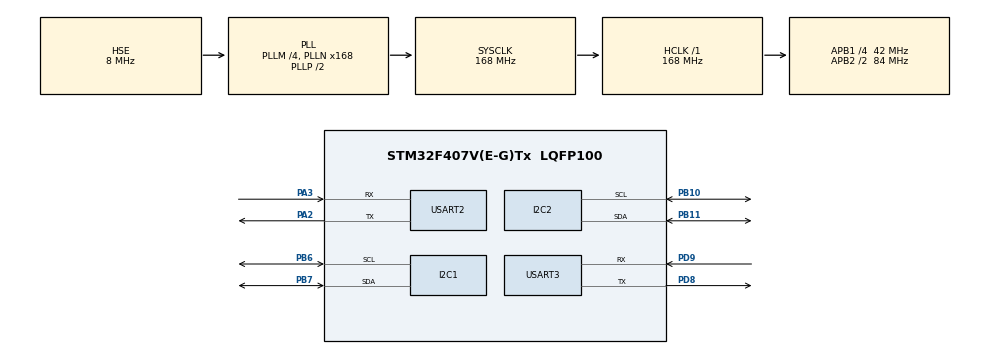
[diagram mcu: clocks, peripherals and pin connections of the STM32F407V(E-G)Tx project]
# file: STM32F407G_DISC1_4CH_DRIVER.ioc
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Dma.Request0=USART2_TX
Dma.Request1=USART3_TX
Dma.Request2=USART3_RX
Dma.USART2_TX.0.Direction=DMA_MEMORY_TO_PERIPH
Dma.USART2_TX.0.FIFOMode=DMA_FIFOMODE_DISABLE
Dma.USART2_TX.0.Instance=DMA1_Stream6
Dma.USART2_TX.0.MemDataAlignment=DMA_MDATAALIGN_BYTE
Dma.USART2_TX.0.MemInc=DMA_MINC_ENABLE
Dma.USART2_TX.0.Mode=DMA_NORMAL
Dma.USART2_TX.0.PeriphDataAlignment=DMA_PDATAALIGN_BYTE
Dma.USART2_TX.0.PeriphInc=DMA_PINC_DISABLE
Dma.USART2_TX.0.Priority=DMA_PRIORITY_LOW
Dma.USART3_RX.2.Direction=DMA_PERIPH_TO_MEMORY
Dma.USART3_RX.2.FIFOMode=DMA_FIFOMODE_DISABLE
Dma.USART3_RX.2.Instance=DMA1_Stream1
Dma.USART3_RX.2.MemDataAlignment=DMA_MDATAALIGN_BYTE
Dma.USART3_RX.2.MemInc=DMA_MINC_ENABLE
Dma.USART3_RX.2.Mode=DMA_NORMAL
Dma.USART3_RX.2.PeriphDataAlignment=DMA_PDATAALIGN_BYTE
Dma.USART3_RX.2.PeriphInc=DMA_PINC_DISABLE
Dma.USART3_RX.2.Priority=DMA_PRIORITY_LOW
Dma.USART3_TX.1.Direction=DMA_MEMORY_TO_PERIPH
Dma.USART3_TX.1.FIFOMode=DMA_FIFOMODE_DISABLE
Dma.USART3_TX.1.Instance=DMA1_Stream3
Dma.USART3_TX.1.MemDataAlignment=DMA_MDATAALIGN_BYTE
Dma.USART3_TX.1.MemInc=DMA_MINC_ENABLE
Dma.USART3_TX.1.Mode=DMA_NORMAL
Dma.USART3_TX.1.PeriphDataAlignment=DMA_PDATAALIGN_BYTE
Dma.USART3_TX.1.PeriphInc=DMA_PINC_DISABLE
Dma.USART3_TX.1.Priority=DMA_PRIORITY_LOW
Mcu.Family=STM32F4
Mcu.Name=STM32F407V(E-G)Tx
Mcu.Package=LQFP100
NVIC.DMA1_Stream1_IRQn=true\:0\:0\:false\:false\:true\:false\:true\:true
NVIC.DMA1_Stream3_IRQn=true\:0\:0\:false\:false\:true\:false\:true\:true
NVIC.DMA1_Stream6_IRQn=true\:0\:0\:false\:false\:true\:false\:true\:true
NVIC.PriorityGroup=NVIC_PRIORITYGROUP_4
NVIC.TIM6_DAC_IRQn=true\:0\:0\:false\:false\:true\:true\:true\:true
NVIC.USART2_IRQn=true\:0\:0\:false\:false\:true\:true\:true\:true
NVIC.USART3_IRQn=true\:0\:0\:false\:false\:true\:true\:true\:true
PA2.Mode=Asynchronous
PA2.Signal=USART2_TX
PA3.Mode=Asynchronous
PA3.Signal=USART2_RX
PB10.GPIO_Pu=GPIO_PULLUP
PB10.Mode=I2C
PB10.Signal=I2C2_SCL
PB11.GPIO_Pu=GPIO_PULLUP
PB11.Mode=I2C
PB11.Signal=I2C2_SDA
PB6.Mode=I2C
PB6.Signal=I2C1_SCL
PB7.Mode=I2C
PB7.Signal=I2C1_SDA
PD8.Mode=Asynchronous
PD8.Signal=USART3_TX
PD9.Mode=Asynchronous
PD9.Signal=USART3_RX
PH0-OSC_IN.Mode=HSE-External-Oscillator
PH0-OSC_IN.Signal=RCC_OSC_IN
PH1-OSC_OUT.Mode=HSE-External-Oscillator
PH1-OSC_OUT.Signal=RCC_OSC_OUT
ProjectManager.HeapSize=0x200
ProjectManager.StackSize=0x400
ProjectManager.TargetToolchain=STM32CubeIDE
RCC.48MHZClocksFreq_Value=84000000
RCC.AHBFreq_Value=168000000
RCC.APB1CLKDivider=RCC_HCLK_DIV4
RCC.APB1Freq_Value=42000000
RCC.APB1TimFreq_Value=84000000
RCC.APB2CLKDivider=RCC_HCLK_DIV2
RCC.APB2Freq_Value=84000000
RCC.APB2TimFreq_Value=168000000
RCC.CortexFreq_Value=168000000
RCC.HCLKFreq_Value=168000000
RCC.HSE_VALUE=8000000
RCC.HSI_VALUE=16000000
RCC.LSE_VALUE=32768
RCC.PLLM=4
RCC.PLLN=168
RCC.PLLSourceVirtual=RCC_PLLSOURCE_HSE
RCC.SYSCLKFreq_VALUE=168000000
RCC.SYSCLKSource=RCC_SYSCLKSOURCE_PLLCLK
RCC.VCOOutputFreq_Value=336000000
TIM6.Period=19999
TIM6.Prescaler=83
USART2.VirtualMode=VM_ASYNC
USART3.VirtualMode=VM_ASYNC
VP_TIM6_VS_ClockSourceINT.Mode=Enable_Timer
board=custom

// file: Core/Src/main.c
/* USER CODE BEGIN Header */
/**
  ******************************************************************************
  * @file           : main.c
  * @brief          : Main program body for production deployment
  ******************************************************************************
  */
/* USER CODE END Header */

#include "main.h"
#include "dma.h"
#include "i2c.h"
#include "tim.h"
#include "usart.h"
#include "gpio.h"

/* USER CODE BEGIN Includes */
#include <stdio.h>
#include <string.h>
#include "mpu6050.h"
#include "motor_driver.h"
#include "telemetry.h"
#include "hiwonder_servo.h"
/* USER CODE END Includes */

/* USER CODE BEGIN PD */
#define CMD_RX_BUF_SIZE 64   // Expanded RX buffer for DMA ReceiveToIdle stability
#define COMM_TIMEOUT_MS 500  // Safety timeout: stop motors if no RPi cmd for 500ms
/* USER CODE END PD */

/* USER CODE BEGIN PV */
IMU_Packet_t imu_packet;
Chassis_Telemetry_Packet_t chassis_packet;

volatile uint8_t motor_timer_flag = 0;

// Dynamic control targets updated by RPi4B commands
volatile uint16_t g_steering_target = 500;
volatile int8_t g_target_motor_speeds[4] = {0, 0, 0, 0};

// UART Command RX buffer & timestamp tracking
uint8_t g_cmd_rx_buf[CMD_RX_BUF_SIZE];
volatile uint32_t g_last_cmd_timestamp = 0;
/* USER CODE END PV */

void SystemClock_Config(void);
/* USER CODE BEGIN PFP */
void I2C1_Force_Reset(void);
void Process_RPi_Command(const uint8_t *buf, uint16_t len);
/* USER CODE END PFP */

/* USER CODE BEGIN 0 */

// Parse incoming UART command packet from RPi4B with sliding window header search
void Process_RPi_Command(const uint8_t *buf, uint16_t len) {
    if (buf == NULL || len < 10) return;

    // Slide window across buffer to find valid header 0xAA 0x55
    for (uint16_t i = 0; i <= len - 10; i++) {
        if (buf[i] == 0xAA && buf[i + 1] == 0x55) {
            // Calculate XOR checksum for 9-byte payload (header1 to motor_speeds[3])
            uint8_t checksum = 0;
            for (uint16_t j = 0; j < 9; j++) {
                checksum ^= buf[i + j];
            }

            // Verify checksum against the 10th byte
            if (checksum == buf[i + 9]) {
                // Parse steering target (Little-Endian uint16_t)
                uint16_t steering = (uint16_t)buf[i + 3] | ((uint16_t)buf[i + 4] << 8);

                g_steering_target = steering;
                g_target_motor_speeds[0] = (int8_t)buf[i + 5];
                g_target_motor_speeds[1] = (int8_t)buf[i + 6];
                g_target_motor_speeds[2] = (int8_t)buf[i + 7];
                g_target_motor_speeds[3] = (int8_t)buf[i + 8];

                // Refresh communication watchdog timestamp
                g_last_cmd_timestamp = HAL_GetTick();
                break; // Successfully processed a valid frame
            }
        }
    }
}

/* USER CODE END 0 */

int main(void)
{
  /* MCU Configuration */
  HAL_Init();
  SystemClock_Config();

  /* Initialize peripherals */
  MX_GPIO_Init();
  MX_DMA_Init();
  MX_I2C1_Init();
  MX_USART2_UART_Init();
  MX_I2C2_Init();
  MX_TIM6_Init();
  MX_USART3_UART_Init();

  /* USER CODE BEGIN 2 */
  // 1. Initialize bus servo interface
  Servo_Init();
  Servo_SetPosition(1, 500, 500); // Set steering to center position initially
  HAL_Delay(500);

  // 2. Initialize MPU6050
  uint8_t imu_init_result = MPU6050_Init_Sequence();
  (void)imu_init_result;

  imu_packet.header1 = 0xAA;
  imu_packet.header2 = 0x55;
  imu_packet.robot_id = 0x01;

  chassis_packet.header1 = 0xAA;
  chassis_packet.header2 = 0x55;
  chassis_packet.robot_id = 0x01;

  // 3. Initialize motor driver
  HAL_Delay(200);
  if (Motor_Init() != HAL_OK) {
      Error_Handler();
  }
  Motor_SetSpeeds((int8_t[4]){0, 0, 0, 0}); // Keep motors idle on boot

  // Refresh command timestamp to prevent immediate watchdog trigger
  g_last_cmd_timestamp = HAL_GetTick();

  // 4. Start USART2 DMA receive to idle for incoming commands from RPi4B
  HAL_UARTEx_ReceiveToIdle_DMA(&huart2, g_cmd_rx_buf, CMD_RX_BUF_SIZE);

  // 5. Start TIM6 timer for 50Hz control loop
  HAL_TIM_Base_Start_IT(&htim6);

  /* USER CODE END 2 */

  /* Infinite loop */
  /* USER CODE BEGIN WHILE */
  while (1) {
    g_steering_target = 600;
    g_target_motor_speeds[0] = 50;
    g_target_motor_speeds[2] = 50;
    g_last_cmd_timestamp = HAL_GetTick();
    /* USER CODE END WHILE */

    /* USER CODE BEGIN 3 */
    if (motor_timer_flag) {
      motor_timer_flag = 0;

      // --- Safety Check: Watchdog timeout for RPi4B communication ---
      if (HAL_GetTick() - g_last_cmd_timestamp > COMM_TIMEOUT_MS) {
          // Stop all motors if RPi connection drops or freezes
          int8_t zero_speeds[4] = {0, 0, 0, 0};
          Motor_SetSpeeds(zero_speeds);
      } else {
          // Apply target motor speeds received from RPi4B
          Motor_SetSpeeds((int8_t *)g_target_motor_speeds);
      }

      // 1. Update encoder readings and speed calculations
      Motor_Update_Callback();
      chassis_packet.timestamp = HAL_GetTick();

      for (int i = 0; i < 4; i++) {
        chassis_packet.encoder[i] = g_motor_status.encoder[i];
        chassis_packet.speed_rpm[i] = g_motor_status.speed_rpm[i];
      }

      // 2. Read IMU data (I2C1)
      if (MPU6050_Read_Data(&imu_packet) == HAL_OK) {
        chassis_packet.accel_x = imu_packet.accel_x;
        chassis_packet.accel_y = imu_packet.accel_y;
        chassis_packet.accel_z = imu_packet.accel_z;
        chassis_packet.gyro_x = imu_packet.gyro_x;
        chassis_packet.gyro_y = imu_packet.gyro_y;
        chassis_packet.gyro_z = imu_packet.gyro_z;
      } else {
        chassis_packet.accel_x = 0;
        chassis_packet.accel_y = 0;
        chassis_packet.accel_z = 0;
        chassis_packet.gyro_x = 0;
        chassis_packet.gyro_y = 0;
        chassis_packet.gyro_z = 0;

        static uint8_t reset_attempts = 0;
        if (++reset_attempts >= 50) {
          reset_attempts = 0;
          I2C1_Force_Reset();
        }
      }

      // 3. Update steering servo angle via USART3
      Servo_SetPosition(1, g_steering_target, 20);

      // 4. Calculate checksum for telemetry frame
      uint8_t *packet_bytes = (uint8_t *)&chassis_packet;
      uint8_t checksum = 0;
      for (size_t i = 0; i < sizeof(Chassis_Telemetry_Packet_t) - 1; i++) {
        checksum ^= packet_bytes[i];
      }
      chassis_packet.checksum = checksum;

      // 5. Send telemetry data to RPi4B via USART2 DMA
      if (huart2.gState == HAL_UART_STATE_READY) {
        HAL_UART_Transmit_DMA(&huart2, (uint8_t *)&chassis_packet, sizeof(Chassis_Telemetry_Packet_t));
      }
    }
  }
  /* USER CODE END 3 */
}

void SystemClock_Config(void)
{
  RCC_OscInitTypeDef RCC_OscInitStruct = {0};
  RCC_ClkInitTypeDef RCC_ClkInitStruct = {0};

  __HAL_RCC_PWR_CLK_ENABLE();
  __HAL_PWR_VOLTAGESCALING_CONFIG(PWR_REGULATOR_VOLTAGE_SCALE1);

  RCC_OscInitStruct.OscillatorType = RCC_OSCILLATORTYPE_HSE;
  RCC_OscInitStruct.HSEState = RCC_HSE_ON;
  RCC_OscInitStruct.PLL.PLLState = RCC_PLL_ON;
  RCC_OscInitStruct.PLL.PLLSource = RCC_PLLSOURCE_HSE;
  RCC_OscInitStruct.PLL.PLLM = 4;
  RCC_OscInitStruct.PLL.PLLN = 168;
  RCC_OscInitStruct.PLL.PLLP = RCC_PLLP_DIV2;
  RCC_OscInitStruct.PLL.PLLQ = 4;
  if (HAL_RCC_OscConfig(&RCC_OscInitStruct) != HAL_OK)
  {
    Error_Handler();
  }

  RCC_ClkInitStruct.ClockType = RCC_CLOCKTYPE_HCLK | RCC_CLOCKTYPE_SYSCLK
                              | RCC_CLOCKTYPE_PCLK1 | RCC_CLOCKTYPE_PCLK2;
  RCC_ClkInitStruct.SYSCLKSource = RCC_SYSCLKSOURCE_PLLCLK;
  RCC_ClkInitStruct.AHBCLKDivider = RCC_SYSCLK_DIV1;
  RCC_ClkInitStruct.APB1CLKDivider = RCC_HCLK_DIV4;
  RCC_ClkInitStruct.APB2CLKDivider = RCC_HCLK_DIV2;

  if (HAL_RCC_ClockConfig(&RCC_ClkInitStruct, FLASH_LATENCY_5) != HAL_OK)
  {
    Error_Handler();
  }
}

/* USER CODE BEGIN 4 */
void HAL_TIM_PeriodElapsedCallback(TIM_HandleTypeDef *htim) {
  if (htim->Instance == TIM6) {
    motor_timer_flag = 1;
  }
}

// Global UART Receive Event Callback
void HAL_UARTEx_RxEventCallback(UART_HandleTypeDef *huart, uint16_t Size) {
    if (huart->Instance == USART2) {
        // Parse incoming command from RPi4B
        Process_RPi_Command(g_cmd_rx_buf, Size);

        // Re-arm DMA receive-to-idle for USART2
        HAL_UARTEx_ReceiveToIdle_DMA(&huart2, g_cmd_rx_buf, CMD_RX_BUF_SIZE);
    } else if (huart->Instance == USART3) {
        Servo_RxEventCallback(Size);
    }
}

void I2C1_Force_Reset(void)
{
  GPIO_InitTypeDef gpio_init = {0};

  HAL_I2C_DeInit(&hi2c1);
    __HAL_RCC_I2C1_FORCE_RESET();
    __HAL_RCC_I2C1_RELEASE_RESET();

  gpio_init.Pin = GPIO_PIN_6 | GPIO_PIN_7;
  gpio_init.Mode = GPIO_MODE_OUTPUT_OD;
  gpio_init.Pull = GPIO_PULLUP;
  gpio_init.Speed = GPIO_SPEED_FREQ_LOW;
  HAL_GPIO_Init(GPIOB, &gpio_init);

  CoreDebug->DEMCR |= CoreDebug_DEMCR_TRCENA_Msk;
  DWT->CYCCNT = 0U;
  DWT->CTRL |= DWT_CTRL_CYCCNTENA_Msk;

  HAL_GPIO_WritePin(GPIOB, GPIO_PIN_6 | GPIO_PIN_7, GPIO_PIN_SET);
  uint32_t start_cycles = DWT->CYCCNT;
  while ((DWT->CYCCNT - start_cycles) < (SystemCoreClock / 200000U)) {
  }

  for (uint8_t pulse = 0; pulse < 9U &&
     HAL_GPIO_ReadPin(GPIOB, GPIO_PIN_7) == GPIO_PIN_RESET; ++pulse) {
    HAL_GPIO_WritePin(GPIOB, GPIO_PIN_6, GPIO_PIN_RESET);
    start_cycles = DWT->CYCCNT;
    while ((DWT->CYCCNT - start_cycles) < (SystemCoreClock / 200000U)) {
    }

    HAL_GPIO_WritePin(GPIOB, GPIO_PIN_6, GPIO_PIN_SET);
    start_cycles = DWT->CYCCNT;
    while ((DWT->CYCCNT - start_cycles) < (SystemCoreClock / 200000U)) {
    }
  }

  HAL_GPIO_WritePin(GPIOB, GPIO_PIN_7, GPIO_PIN_RESET);
  start_cycles = DWT->CYCCNT;
  while ((DWT->CYCCNT - start_cycles) < (SystemCoreClock / 200000U)) {
  }
  HAL_GPIO_WritePin(GPIOB, GPIO_PIN_6, GPIO_PIN_SET);
  start_cycles = DWT->CYCCNT;
  while ((DWT->CYCCNT - start_cycles) < (SystemCoreClock / 200000U)) {
  }
  HAL_GPIO_WritePin(GPIOB, GPIO_PIN_7, GPIO_PIN_SET);

    MX_I2C1_Init();
}

void HAL_UART_ErrorCallback(UART_HandleTypeDef *huart) {
    if (huart->Instance == USART2) {
        // 清除溢出错误和帧错误标志
        __HAL_UART_CLEAR_OREFLAG(huart);
        __HAL_UART_CLEAR_NEFLAG(huart);
        __HAL_UART_CLEAR_FEFLAG(huart);

        // 重新激活 USART2 DMA 接收
        HAL_UARTEx_ReceiveToIdle_DMA(&huart2, g_cmd_rx_buf, CMD_RX_BUF_SIZE);
    }
}
/* USER CODE END 4 */

void Error_Handler(void)
{
  __disable_irq();
  while (1) {}
}
